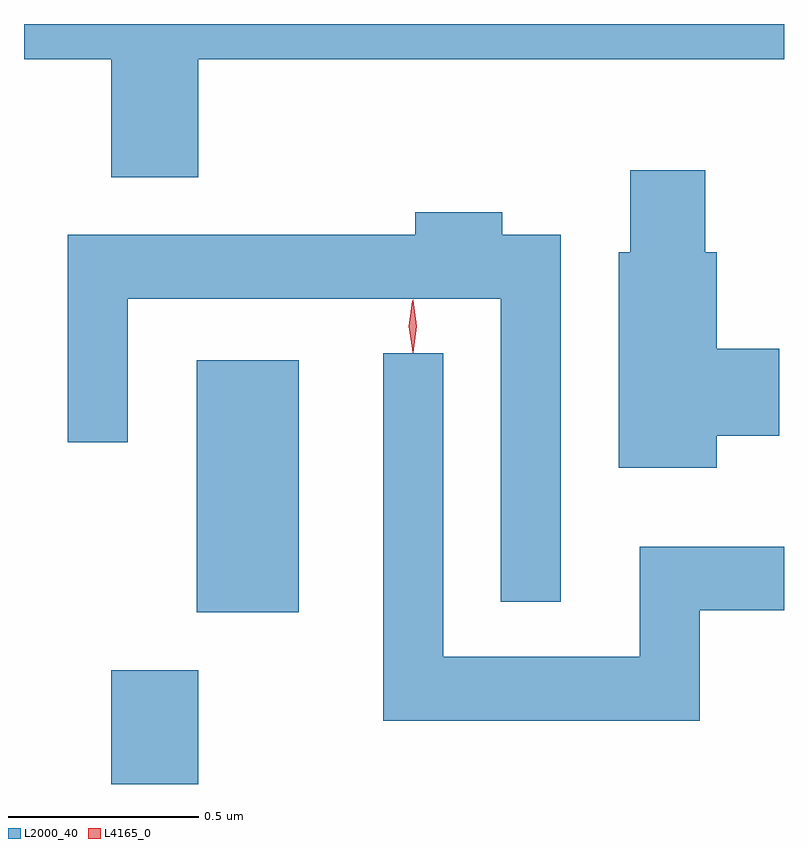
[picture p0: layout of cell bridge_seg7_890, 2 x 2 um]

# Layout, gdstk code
import gdstk
lib = gdstk.Library(unit=1e-6, precision=1e-09)
def R(c, l, rs):  # rectangles x0, y0, x1, y1
    for r in rs: c.add(gdstk.rectangle(r[:2], r[2:], *l))
def P(c, l, *ps):  # polygons
    for p in ps: c.add(gdstk.Polygon(p, *l))
L2000_40 = (2000, 40)
L4165_0 = (4165, 0)

bridge_seg7_890 = lib.new_cell('bridge_seg7_890')
R(bridge_seg7_890, L2000_40, [(319.381,1696.869,319.609,1697.169), (319.606,1697.321,319.874,1697.984)])
P(bridge_seg7_890, L2000_40, [(319.609,1698.776),(321.151,1698.776),(321.151,1698.869),(319.151,1698.869),(319.151,1698.776),(319.381,1698.776),(319.381,1698.466),(319.609,1698.466)],
  [(320.974,1697.786),(321.139,1697.786),(321.139,1698.014),(320.974,1698.014),(320.974,1698.269),(320.944,1698.269),(320.944,1698.484),(320.746,1698.484),(320.746,1698.269),(320.716,1698.269),(320.716,1697.701),(320.974,1697.701)],
  [(320.564,1698.314),(320.409,1698.314),(320.409,1698.374),(320.181,1698.374),(320.181,1698.314),(319.266,1698.314),(319.266,1697.768),(319.424,1697.768),(319.424,1698.146),(320.406,1698.146),(320.406,1697.348),(320.564,1697.348)],
  [(320.929,1697.326),(321.151,1697.326),(321.151,1697.494),(320.771,1697.494),(320.771,1697.204),(320.254,1697.204),(320.254,1698.003),(320.096,1698.003),(320.096,1697.036),(320.929,1697.036)])
P(bridge_seg7_890, L4165_0, [(320.174,1698.004),(320.165,1698.073),(320.174,1698.142),(320.175,1698.143),(320.175,1698.142),(320.185,1698.073),(320.175,1698.004),(320.175,1698.004)],
  [(320.174,1698.007),(320.174,1698.007),(320.164,1698.074),(320.173,1698.14),(320.174,1698.14),(320.174,1698.14),(320.184,1698.074),(320.175,1698.007)])

lib.write_gds('bridge_seg7_890.gds')
